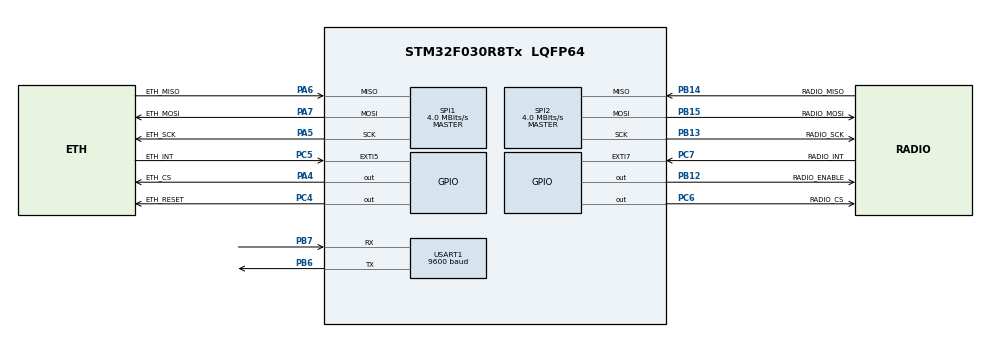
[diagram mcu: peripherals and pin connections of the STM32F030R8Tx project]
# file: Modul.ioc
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Mcu.Family=STM32F0
Mcu.Name=STM32F030R8Tx
Mcu.Package=LQFP64
NVIC.EXTI4_15_IRQn=true\:0\:0\:false\:false\:true\:true
PA13.Mode=Serial_Wire
PA13.Signal=SYS_SWDIO
PA14.Mode=Serial_Wire
PA14.Signal=SYS_SWCLK
PA4.GPIO_Label=ETH_CS
PA4.Signal=GPIO_Output
PA5.GPIO_Label=ETH_SCK
PA5.Mode=Full_Duplex_Master
PA5.Signal=SPI1_SCK
PA6.GPIO_Label=ETH_MISO
PA6.Mode=Full_Duplex_Master
PA6.Signal=SPI1_MISO
PA7.GPIO_Label=ETH_MOSI
PA7.Mode=Full_Duplex_Master
PA7.Signal=SPI1_MOSI
PB12.GPIO_Label=RADIO_ENABLE
PB12.Signal=GPIO_Output
PB13.GPIO_Label=RADIO_SCK
PB13.Mode=Full_Duplex_Master
PB13.Signal=SPI2_SCK
PB14.GPIO_Label=RADIO_MISO
PB14.Mode=Full_Duplex_Master
PB14.Signal=SPI2_MISO
PB15.GPIO_Label=RADIO_MOSI
PB15.Mode=Full_Duplex_Master
PB15.Signal=SPI2_MOSI
PB6.Mode=Asynchronous
PB6.Signal=USART1_TX
PB7.Mode=Asynchronous
PB7.Signal=USART1_RX
PC4.GPIO_Label=ETH_RESET
PC4.Signal=GPIO_Output
PC5.GPIO_Label=ETH_INT
PC5.GPIO_ModeDefaultEXTI=GPIO_MODE_IT_FALLING
PC5.GPIO_PuPd=GPIO_PULLUP
PC5.Signal=GPXTI5
PC6.GPIO_Label=RADIO_CS
PC6.Signal=GPIO_Output
PC7.GPIO_Label=RADIO_INT
PC7.Signal=GPXTI7
ProjectManager.HeapSize=0x200
ProjectManager.StackSize=0x400
ProjectManager.TargetToolchain=TrueSTUDIO
SPI1.BaudRatePrescaler=SPI_BAUDRATEPRESCALER_2
SPI1.CalculateBaudRate=4.0 MBits/s
SPI1.DataSize=SPI_DATASIZE_8BIT
SPI1.Direction=SPI_DIRECTION_2LINES
SPI1.Mode=SPI_MODE_MASTER
SPI1.VirtualType=VM_MASTER
SPI2.CalculateBaudRate=4.0 MBits/s
SPI2.DataSize=SPI_DATASIZE_8BIT
SPI2.Direction=SPI_DIRECTION_2LINES
SPI2.Mode=SPI_MODE_MASTER
SPI2.VirtualType=VM_MASTER
USART1.BaudRate=9600
USART1.VirtualMode-Asynchronous=VM_ASYNC
board=Modul

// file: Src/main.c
/**
 ******************************************************************************
 * @file           : main.c
 * @brief          : Main program body
 ******************************************************************************
 ** This notice applies to any and all portions of this file
 * that are not between comment pairs USER CODE BEGIN and
 * USER CODE END. Other portions of this file, whether
 * inserted by the user or by software development tools
 * are owned by their respective copyright owners.
 *
 * COPYRIGHT(c) 2018 STMicroelectronics
 *
 * Redistribution and use in source and binary forms, with or without modification,
 * are permitted provided that the following conditions are met:
 *   1. Redistributions of source code must retain the above copyright notice,
 *      this list of conditions and the following disclaimer.
 *   2. Redistributions in binary form must reproduce the above copyright notice,
 *      this list of conditions and the following disclaimer in the documentation
 *      and/or other materials provided with the distribution.
 *   3. Neither the name of STMicroelectronics nor the names of its contributors
 *      may be used to endorse or promote products derived from this software
 *      without specific prior written permission.
 *
 * THIS SOFTWARE IS PROVIDED BY THE COPYRIGHT HOLDERS AND CONTRIBUTORS "AS IS"
 * AND ANY EXPRESS OR IMPLIED WARRANTIES, INCLUDING, BUT NOT LIMITED TO, THE
 * IMPLIED WARRANTIES OF MERCHANTABILITY AND FITNESS FOR A PARTICULAR PURPOSE ARE
 * DISCLAIMED. IN NO EVENT SHALL THE COPYRIGHT HOLDER OR CONTRIBUTORS BE LIABLE
 * FOR ANY DIRECT, INDIRECT, INCIDENTAL, SPECIAL, EXEMPLARY, OR CONSEQUENTIAL
 * DAMAGES (INCLUDING, BUT NOT LIMITED TO, PROCUREMENT OF SUBSTITUTE GOODS OR
 * SERVICES; LOSS OF USE, DATA, OR PROFITS; OR BUSINESS INTERRUPTION) HOWEVER
 * CAUSED AND ON ANY THEORY OF LIABILITY, WHETHER IN CONTRACT, STRICT LIABILITY,
 * OR TORT (INCLUDING NEGLIGENCE OR OTHERWISE) ARISING IN ANY WAY OUT OF THE USE
 * OF THIS SOFTWARE, EVEN IF ADVISED OF THE POSSIBILITY OF SUCH DAMAGE.
 *
 ******************************************************************************
 */
#include "main.h"
#include "stm32f0xx_hal.h"
#include "spi.h"
#include "usart.h"
#include "gpio.h"

/* USER CODE BEGIN Includes */
#include "udpecho_raw/udpecho_raw.h"
#include "tm_stm32f4_nrf24l01.h"
#include "main_module_radio.h"
#include "global_def.h"

extern int ETH_INT;
extern CommunicationStatus communication;
/* USER CODE END Includes */

/* USER CODE BEGIN PV */
/* Private variables ---------------------------------------------------------*/

/* USER CODE END PV */

void SystemClock_Config(void);

/* USER CODE BEGIN PFP */
/* Private function prototypes -----------------------------------------------*/

/* USER CODE END PFP */

int main(void) {

	/* MCU Configuration----------------------------------------------------------*/

	/* Reset of all peripherals, Initializes the Flash interface and the Systick. */
	HAL_Init();

	/* Configure the system clock */
	SystemClock_Config();

	/* Initialize all configured peripherals */
	MX_GPIO_Init();
	MX_SPI1_Init();
	MX_SPI2_Init();
	MX_USART1_UART_Init();
	/* USER CODE BEGIN 2 */

	udpecho_raw_init();
	mainModuleRadioInit();
	TM_NRF24L01_Transmit_Status_t transmissionStatus;
	uint8_t dataIn[32];

	/* USER CODE END 2 */

	/* Infinite loop */
	/* USER CODE BEGIN WHILE */
	while (1) {
		if (ETH_INT > 0) {
			udpecho_poll();
			ETH_INT--;

			if (communication.buffer[0] == 'a') {
				communication.status = 1;
			} else if (communication.buffer[0] == 's') {
				communication.status = 0;
			}
		}

		if (communication.status == 1) {
			/* Get data from NRF24L01+ */
			if (TM_NRF24L01_DataReady()) {
				TM_NRF24L01_GetData(dataIn);
				send_udp(dataIn, 32);
			}

		}

		/* USER CODE END WHILE */

	}

}

void SystemClock_Config(void) {

	RCC_OscInitTypeDef RCC_OscInitStruct;
	RCC_ClkInitTypeDef RCC_ClkInitStruct;
	RCC_PeriphCLKInitTypeDef PeriphClkInit;

	/**Initializes the CPU, AHB and APB busses clocks
	 */
	RCC_OscInitStruct.OscillatorType = RCC_OSCILLATORTYPE_HSI;
	RCC_OscInitStruct.HSIState = RCC_HSI_ON;
	RCC_OscInitStruct.HSICalibrationValue = 16;
	RCC_OscInitStruct.PLL.PLLState = RCC_PLL_NONE;
	if (HAL_RCC_OscConfig(&RCC_OscInitStruct) != HAL_OK) {
		_Error_Handler(__FILE__, __LINE__);
	}

	/**Initializes the CPU, AHB and APB busses clocks
	 */
	RCC_ClkInitStruct.ClockType = RCC_CLOCKTYPE_HCLK | RCC_CLOCKTYPE_SYSCLK
			| RCC_CLOCKTYPE_PCLK1;
	RCC_ClkInitStruct.SYSCLKSource = RCC_SYSCLKSOURCE_HSI;
	RCC_ClkInitStruct.AHBCLKDivider = RCC_SYSCLK_DIV1;
	RCC_ClkInitStruct.APB1CLKDivider = RCC_HCLK_DIV1;

	if (HAL_RCC_ClockConfig(&RCC_ClkInitStruct, FLASH_LATENCY_0) != HAL_OK) {
		_Error_Handler(__FILE__, __LINE__);
	}

	PeriphClkInit.PeriphClockSelection = RCC_PERIPHCLK_USART1;
	PeriphClkInit.Usart1ClockSelection = RCC_USART1CLKSOURCE_PCLK1;
	if (HAL_RCCEx_PeriphCLKConfig(&PeriphClkInit) != HAL_OK) {
		_Error_Handler(__FILE__, __LINE__);
	}

	/**Configure the Systick interrupt time
	 */
	HAL_SYSTICK_Config(HAL_RCC_GetHCLKFreq() / 1000);

	/**Configure the Systick
	 */
	HAL_SYSTICK_CLKSourceConfig(SYSTICK_CLKSOURCE_HCLK);

	/* SysTick_IRQn interrupt configuration */
	HAL_NVIC_SetPriority(SysTick_IRQn, 0, 0);
}

void _Error_Handler(char *file, int line) {
	while (1) {
	}
}

/************************ (C) COPYRIGHT STMicroelectronics *****END OF FILE****/
